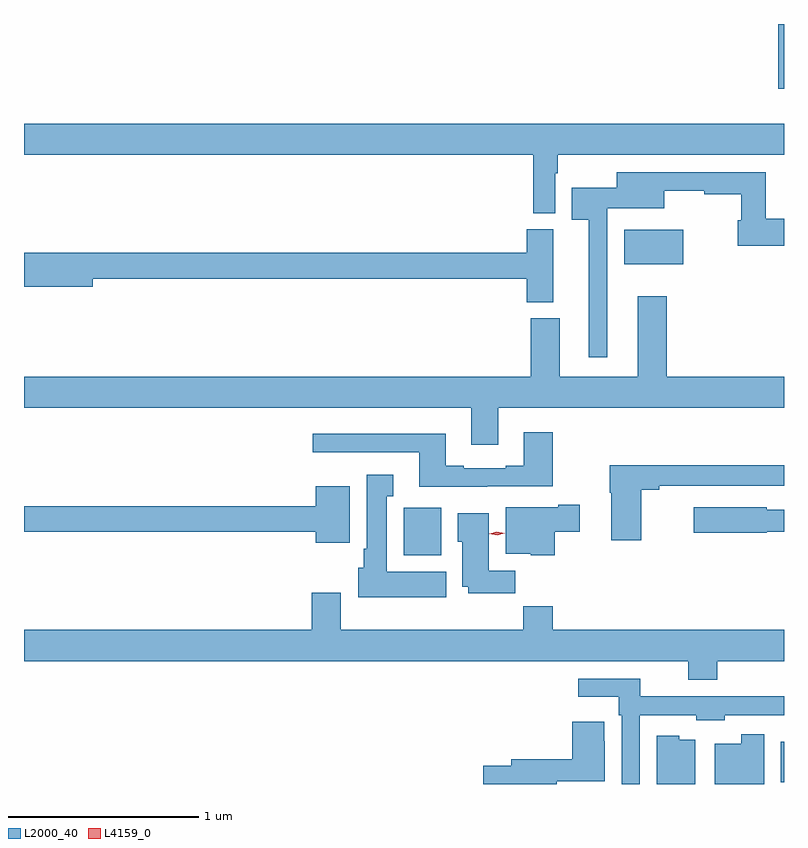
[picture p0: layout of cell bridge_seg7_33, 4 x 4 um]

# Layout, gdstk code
import gdstk
lib = gdstk.Library(unit=1e-6, precision=1e-09)
def R(c, l, rs):  # rectangles x0, y0, x1, y1
    for r in rs: c.add(gdstk.rectangle(r[:2], r[2:], *l))
def P(c, l, *ps):  # polygons
    for p in ps: c.add(gdstk.Polygon(p, *l))
L2000_40 = (2000, 40)
L4159_0 = (4159, 0)

bridge_seg7_33 = lib.new_cell('bridge_seg7_33')
R(bridge_seg7_33, L2000_40, [(1000.292,1077.233,1000.308,1077.448), (998.307,1078.43,998.503,1078.68), (999.467,1079.96,999.778,1080.142), (1000.279,1080.885,1000.308,1081.225)])
P(bridge_seg7_33, L2000_40, [(999.105,1080.44),(999.118,1080.44),(999.118,1080.536),(1000.308,1080.536),(1000.308,1080.7),(996.308,1080.7),(996.308,1080.536),(998.989,1080.536),(998.989,1080.23),(999.105,1080.23)],
  [(999.379,1079.778),(999.378,1079.778),(999.378,1080.254),(999.679,1080.254),(999.679,1080.347),(999.887,1080.347),(999.887,1080.328),(1000.083,1080.328),(1000.083,1080.193),(1000.064,1080.193),(1000.064,1080.059),(1000.308,1080.059),(1000.308,1080.201),(1000.211,1080.201),(1000.211,1080.444),(999.428,1080.444),(999.428,1080.364),(999.19,1080.364),(999.19,1080.194),(999.281,1080.194),(999.281,1079.472),(999.379,1079.472)],
  [(999.094,1080.145),(998.954,1080.145),(998.954,1080.02),(996.308,1080.02),(996.308,1079.842),(996.67,1079.842),(996.67,1079.884),(998.954,1079.884),(998.954,1079.761),(999.094,1079.761)],
  [(998.803,1079.204),(1000.308,1079.204),(1000.308,1079.368),(999.692,1079.368),(999.692,1079.791),(999.539,1079.791),(999.539,1079.368),(999.127,1079.368),(999.127,1079.676),(998.975,1079.676),(998.975,1079.368),(996.308,1079.368),(996.308,1079.204),(998.663,1079.204),(998.663,1079.01),(998.803,1079.01)],
  [(998.747,1078.791),(999.092,1078.791),(999.092,1079.077),(998.939,1079.077),(998.939,1078.9),(998.843,1078.9),(998.843,1078.887),(998.623,1078.887),(998.623,1078.9),(998.527,1078.9),(998.527,1079.068),(997.827,1079.068),(997.827,1078.971),(998.387,1078.971),(998.387,1078.79),(998.747,1078.79)],
  [(999.556,1078.774),(999.652,1078.774),(999.652,1078.794),(1000.308,1078.794),(1000.308,1078.903),(999.391,1078.903),(999.391,1078.757),(999.398,1078.757),(999.398,1078.509),(999.556,1078.509)],
  [(998.53,1078.342),(998.218,1078.342),(998.218,1078.739),(998.251,1078.739),(998.251,1078.852),(998.111,1078.852),(998.111,1078.462),(998.096,1078.462),(998.096,1078.362),(998.066,1078.362),(998.066,1078.208),(998.53,1078.208)],
  [(998.023,1078.792),(997.844,1078.792),(997.844,1078.688),(996.308,1078.688),(996.308,1078.552),(997.844,1078.552),(997.844,1078.496),(998.023,1078.496)],
  [(999.102,1078.552),(999.232,1078.552),(999.232,1078.694),(999.119,1078.694),(999.119,1078.681),(998.843,1078.681),(998.843,1078.436),(998.976,1078.436),(998.976,1078.43),(999.102,1078.43)],
  [(1000.218,1078.552),(1000.308,1078.552),(1000.308,1078.668),(1000.218,1078.668),(1000.218,1078.681),(999.834,1078.681),(999.834,1078.547),(1000.218,1078.547)],
  [(998.894,1078.348),(998.755,1078.348),(998.755,1078.651),(998.591,1078.651),(998.591,1078.5),(998.615,1078.5),(998.615,1078.262),(998.645,1078.262),(998.645,1078.23),(998.894,1078.23)],
  [(999.956,1077.872),(1000.308,1077.872),(1000.308,1078.036),(999.092,1078.036),(999.092,1078.16),(998.935,1078.16),(998.935,1078.036),(997.975,1078.036),(997.975,1078.231),(997.823,1078.231),(997.823,1078.036),(996.308,1078.036),(996.308,1077.872),(999.803,1077.872),(999.803,1077.773),(999.956,1077.773)],
  [(999.549,1077.588),(999.846,1077.588),(999.846,1077.56),(999.996,1077.56),(999.996,1077.588),(1000.3,1077.588),(1000.3,1077.587),(1000.308,1077.587),(1000.308,1077.686),(999.552,1077.686),(999.552,1077.78),(999.225,1077.78),(999.225,1077.683),(999.437,1077.683),(999.437,1077.587),(999.453,1077.587),(999.453,1077.225),(999.549,1077.225)],
  [(999.112,1077.24),(999.364,1077.24),(999.364,1077.449),(999.363,1077.449),(999.363,1077.552),(999.194,1077.552),(999.194,1077.356),(998.873,1077.356),(998.873,1077.32),(998.724,1077.32),(998.724,1077.225),(999.112,1077.225)],
  [(1000.204,1077.487),(1000.082,1077.487),(1000.082,1077.436),(999.944,1077.436),(999.944,1077.225),(1000.204,1077.225)],
  [(999.841,1077.457),(999.756,1077.457),(999.756,1077.478),(999.638,1077.478),(999.638,1077.225),(999.841,1077.225)])
P(bridge_seg7_33, L4159_0, [(998.798,1078.533),(998.757,1078.542),(998.757,1078.542),(998.757,1078.542),(998.797,1078.553),(998.838,1078.545),(998.838,1078.545),(998.838,1078.545)])

lib.write_gds('bridge_seg7_33.gds')
